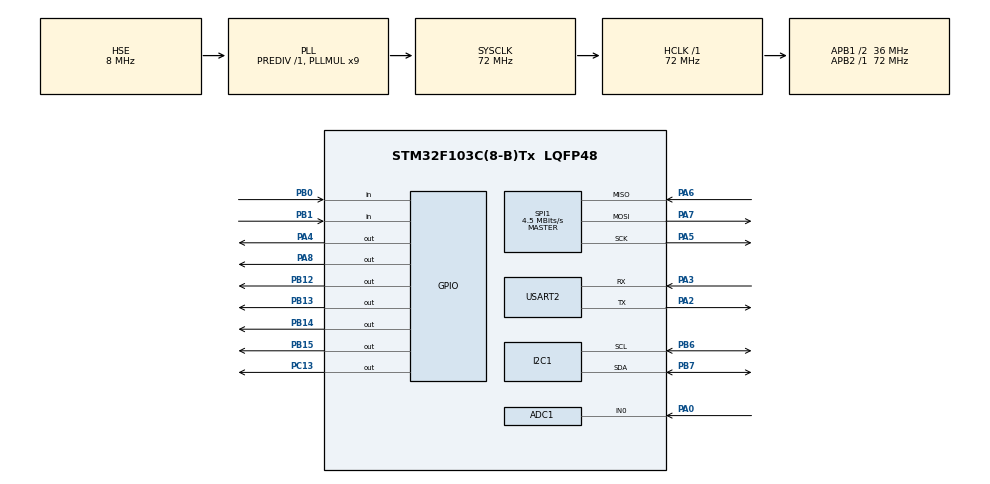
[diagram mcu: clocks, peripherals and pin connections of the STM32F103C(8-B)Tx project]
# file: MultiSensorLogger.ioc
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ADC1.Channel-0\#ChannelRegularConversion=ADC_CHANNEL_0
ADC1.NbrOfConversionFlag=1
ADC1.Rank-0\#ChannelRegularConversion=1
ADC1.SamplingTime-0\#ChannelRegularConversion=ADC_SAMPLETIME_1CYCLE_5
ADC1.master=1
I2C1.I2C_Mode=I2C_Fast
Mcu.Family=STM32F1
Mcu.Name=STM32F103C(8-B)Tx
Mcu.Package=LQFP48
NVIC.PriorityGroup=NVIC_PRIORITYGROUP_4
PA0-WKUP.Signal=ADCx_IN0
PA13.Mode=Serial_Wire
PA13.Signal=SYS_JTMS-SWDIO
PA14.Mode=Serial_Wire
PA14.Signal=SYS_JTCK-SWCLK
PA2.Mode=Asynchronous
PA2.Signal=USART2_TX
PA3.Mode=Asynchronous
PA3.Signal=USART2_RX
PA4.Signal=GPIO_Output
PA5.Mode=Full_Duplex_Master
PA5.Signal=SPI1_SCK
PA6.Mode=Full_Duplex_Master
PA6.Signal=SPI1_MISO
PA7.Mode=Full_Duplex_Master
PA7.Signal=SPI1_MOSI
PA8.Signal=GPIO_Output
PB0.GPIO_PuPd=GPIO_PULLUP
PB0.Signal=GPIO_Input
PB1.GPIO_PuPd=GPIO_PULLUP
PB1.Signal=GPIO_Input
PB12.Signal=GPIO_Output
PB13.Signal=GPIO_Output
PB14.Signal=GPIO_Output
PB15.Signal=GPIO_Output
PB6.Mode=I2C
PB6.Signal=I2C1_SCL
PB7.Mode=I2C
PB7.Signal=I2C1_SDA
PC13-TAMPER-RTC.Signal=GPIO_Output
PD0-OSC_IN.Mode=HSE-External-Oscillator
PD0-OSC_IN.Signal=RCC_OSC_IN
PD1-OSC_OUT.Mode=HSE-External-Oscillator
PD1-OSC_OUT.Signal=RCC_OSC_OUT
ProjectManager.HeapSize=0x200
ProjectManager.StackSize=0x400
ProjectManager.TargetToolchain=STM32CubeIDE
RCC.ADCPresc=RCC_ADCPCLK2_DIV6
RCC.AHBFreq_Value=72000000
RCC.APB1CLKDivider=RCC_HCLK_DIV2
RCC.APB1Freq_Value=36000000
RCC.APB1TimFreq_Value=72000000
RCC.APB2Freq_Value=72000000
RCC.APB2TimFreq_Value=72000000
RCC.HCLKFreq_Value=72000000
RCC.PLLMUL=RCC_PLL_MUL9
RCC.PLLSourceVirtual=RCC_PLLSOURCE_HSE
RCC.SYSCLKFreq_VALUE=72000000
RCC.SYSCLKSource=RCC_SYSCLKSOURCE_PLLCLK
RCC.USBFreq_Value=72000000
SH.ADCx_IN0.0=ADC1_IN0,IN0
SPI1.BaudRatePrescaler=SPI_BAUDRATEPRESCALER_16
SPI1.CalculateBaudRate=4.5 MBits/s
SPI1.Direction=SPI_DIRECTION_2LINES
SPI1.Mode=SPI_MODE_MASTER
SPI1.VirtualType=VM_MASTER
USART2.VirtualMode=VM_ASYNC
VP_ADC1_TempSens_Input.Mode=IN-TempSens
board=custom

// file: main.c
/* USER CODE BEGIN Header */
/**
  ******************************************************************************
  * @file           : main.c
  * @brief          : Main program body
  ******************************************************************************
  * @attention
  *
  * Copyright (c) 2026 STMicroelectronics.
  * All rights reserved.
  *
  * This software is licensed under terms that can be found in the LICENSE file
  * in the root directory of this software component.
  * If no LICENSE file comes with this software, it is provided AS-IS.
  *
  ******************************************************************************
  */
/* USER CODE END Header */
#include "main.h"

/* USER CODE BEGIN Includes */
#include <stdio.h>
#include <string.h>
/* USER CODE END Includes */

/* USER CODE BEGIN PTD */
typedef struct {
    uint32_t timestamp_ms;
    float temperature;
    float humidity;
    float pressure;
    uint16_t pot_raw;
    float threshold_temp;
    uint8_t alarm_active;
} SensorData;

typedef enum {
    PAGE_LIVE_DATA = 0,
    PAGE_MIN_MAX,
    PAGE_LOG_COUNT,
    PAGE_SYSTEM_INFO,
    PAGE_COUNT
} DisplayPage;

typedef struct {
    SensorData current;
    float temp_min, temp_max;
    float hum_min, hum_max;
    uint32_t log_count;
    uint32_t uptime_seconds;
    DisplayPage current_page;
    uint8_t alarm_armed;
    uint8_t alarm_triggered;
    uint8_t sd_card_ok;
    uint8_t bme280_ok;
    uint8_t bt_connected;
} SystemState;
/* USER CODE END PTD */

/* USER CODE BEGIN PD */
#define SSD1306_ADDR (0x3C << 1)
#define SSD1306_WIDTH 128
#define SSD1306_HEIGHT 64
/* USER CODE END PD */

ADC_HandleTypeDef hadc1;

I2C_HandleTypeDef hi2c1;

SPI_HandleTypeDef hspi1;

UART_HandleTypeDef huart2;

/* USER CODE BEGIN PV */
SystemState sys = {0};

/* Timing counters */
uint32_t tick_sensor  = 0;
uint32_t tick_display = 0;
uint32_t tick_sd      = 0;
uint32_t tick_bt      = 0;
uint32_t tick_second  = 0;

/* Button debounce */
uint8_t btn1_prev = 1, btn2_prev = 1;
uint8_t btn1_count = 0, btn2_count = 0;
/* USER CODE END PV */

void SystemClock_Config(void);
static void MX_GPIO_Init(void);
static void MX_ADC1_Init(void);
static void MX_I2C1_Init(void);
static void MX_SPI1_Init(void);
static void MX_USART2_UART_Init(void);

/* USER CODE BEGIN 0 */

/* ---- SSD1306 OLED Driver ---- */
static uint8_t ssd1306_buf[SSD1306_WIDTH * SSD1306_HEIGHT / 8];

/* 5x7 font, ASCII 32-90 */
static const uint8_t font5x7[][5] = {
    {0x00,0x00,0x00,0x00,0x00}, // ' '
    {0x00,0x00,0x5F,0x00,0x00}, // '!'
    {0x00,0x07,0x00,0x07,0x00}, // '"'
    {0x14,0x7F,0x14,0x7F,0x14}, // '#'
    {0x24,0x2A,0x7F,0x2A,0x12}, // '$'
    {0x23,0x13,0x08,0x64,0x62}, // '%'
    {0x36,0x49,0x56,0x20,0x50}, // '&'
    {0x00,0x08,0x07,0x03,0x00}, // '\''
    {0x00,0x1C,0x22,0x41,0x00}, // '('
    {0x00,0x41,0x22,0x1C,0x00}, // ')'
    {0x2A,0x1C,0x7F,0x1C,0x2A}, // '*'
    {0x08,0x08,0x3E,0x08,0x08}, // '+'
    {0x00,0x80,0x70,0x30,0x00}, // ','
    {0x08,0x08,0x08,0x08,0x08}, // '-'
    {0x00,0x00,0x60,0x60,0x00}, // '.'
    {0x20,0x10,0x08,0x04,0x02}, // '/'
    {0x3E,0x51,0x49,0x45,0x3E}, // '0'
    {0x00,0x42,0x7F,0x40,0x00}, // '1'
    {0x72,0x49,0x49,0x49,0x46}, // '2'
    {0x21,0x41,0x49,0x4D,0x33}, // '3'
    {0x18,0x14,0x12,0x7F,0x10}, // '4'
    {0x27,0x45,0x45,0x45,0x39}, // '5'
    {0x3C,0x4A,0x49,0x49,0x31}, // '6'
    {0x41,0x21,0x11,0x09,0x07}, // '7'
    {0x36,0x49,0x49,0x49,0x36}, // '8'
    {0x46,0x49,0x49,0x29,0x1E}, // '9'
    {0x00,0x00,0x14,0x00,0x00}, // ':'
    {0x00,0x40,0x34,0x00,0x00}, // ';'
    {0x00,0x08,0x14,0x22,0x41}, // '<'
    {0x14,0x14,0x14,0x14,0x14}, // '='
    {0x00,0x41,0x22,0x14,0x08}, // '>'
    {0x02,0x01,0x59,0x09,0x06}, // '?'
    {0x3E,0x41,0x5D,0x59,0x4E}, // '@'
    {0x7C,0x12,0x11,0x12,0x7C}, // 'A'
    {0x7F,0x49,0x49,0x49,0x36}, // 'B'
    {0x3E,0x41,0x41,0x41,0x22}, // 'C'
    {0x7F,0x41,0x41,0x41,0x3E}, // 'D'
    {0x7F,0x49,0x49,0x49,0x41}, // 'E'
    {0x7F,0x09,0x09,0x09,0x01}, // 'F'
    {0x3E,0x41,0x41,0x51,0x73}, // 'G'
    {0x7F,0x08,0x08,0x08,0x7F}, // 'H'
    {0x00,0x41,0x7F,0x41,0x00}, // 'I'
    {0x20,0x40,0x41,0x3F,0x01}, // 'J'
    {0x7F,0x08,0x14,0x22,0x41}, // 'K'
    {0x7F,0x40,0x40,0x40,0x40}, // 'L'
    {0x7F,0x02,0x1C,0x02,0x7F}, // 'M'
    {0x7F,0x04,0x08,0x10,0x7F}, // 'N'
    {0x3E,0x41,0x41,0x41,0x3E}, // 'O'
    {0x7F,0x09,0x09,0x09,0x06}, // 'P'
    {0x3E,0x41,0x51,0x21,0x5E}, // 'Q'
    {0x7F,0x09,0x19,0x29,0x46}, // 'R'
    {0x26,0x49,0x49,0x49,0x32}, // 'S'
    {0x03,0x01,0x7F,0x01,0x03}, // 'T'
    {0x3F,0x40,0x40,0x40,0x3F}, // 'U'
    {0x1F,0x20,0x40,0x20,0x1F}, // 'V'
    {0x3F,0x40,0x38,0x40,0x3F}, // 'W'
    {0x63,0x14,0x08,0x14,0x63}, // 'X'
    {0x03,0x04,0x78,0x04,0x03}, // 'Y'
    {0x61,0x59,0x49,0x4D,0x43}, // 'Z'
};

uint8_t SSD1306_Init(void)
{
    const uint8_t init_cmds[] = {
        0xAE, 0xD5, 0x80, 0xA8, 0x3F, 0xD3, 0x00,
        0x40, 0x8D, 0x14, 0x20, 0x00, 0xA1, 0xC8,
        0xDA, 0x12, 0x81, 0xCF, 0xD9, 0xF1, 0xDB,
        0x40, 0xA4, 0xA6, 0xAF
    };
    for (uint8_t i = 0; i < sizeof(init_cmds); i++) {
        uint8_t buf[2] = {0x00, init_cmds[i]};
        if (HAL_I2C_Master_Transmit(&hi2c1, SSD1306_ADDR, buf, 2, 100) != HAL_OK)
            return 0;
    }
    memset(ssd1306_buf, 0, sizeof(ssd1306_buf));
    return 1;
}

void SSD1306_Clear(void)
{
    memset(ssd1306_buf, 0, sizeof(ssd1306_buf));
}

void SSD1306_SetPixel(uint8_t x, uint8_t y, uint8_t on)
{
    if (x >= SSD1306_WIDTH || y >= SSD1306_HEIGHT) return;
    if (on) ssd1306_buf[x + (y / 8) * SSD1306_WIDTH] |= (1 << (y % 8));
    else    ssd1306_buf[x + (y / 8) * SSD1306_WIDTH] &= ~(1 << (y % 8));
}

void SSD1306_WriteStr(uint8_t x, uint8_t y, const char *str)
{
    while (*str && x < SSD1306_WIDTH - 5) {
        uint8_t c = (uint8_t)*str;
        if (c >= 32 && c <= 90) {
            for (int i = 0; i < 5; i++) {
                uint8_t col = font5x7[c - 32][i];
                for (int bit = 0; bit < 7; bit++) {
                    SSD1306_SetPixel(x + i, y + bit, (col >> bit) & 1);
                }
            }
        }
        x += 6;
        str++;
    }
}

void SSD1306_Update(void)
{
    for (uint8_t page = 0; page < 8; page++) {
        uint8_t cmd[2];
        cmd[0] = 0x00; cmd[1] = 0xB0 + page;
        HAL_I2C_Master_Transmit(&hi2c1, SSD1306_ADDR, cmd, 2, 100);
        cmd[1] = 0x00;
        HAL_I2C_Master_Transmit(&hi2c1, SSD1306_ADDR, cmd, 2, 100);
        cmd[1] = 0x10;
        HAL_I2C_Master_Transmit(&hi2c1, SSD1306_ADDR, cmd, 2, 100);

        uint8_t data[SSD1306_WIDTH + 1];
        data[0] = 0x40;
        memcpy(&data[1], &ssd1306_buf[page * SSD1306_WIDTH], SSD1306_WIDTH);
        HAL_I2C_Master_Transmit(&hi2c1, SSD1306_ADDR, data, SSD1306_WIDTH + 1, 100);
    }
}

/* UART printf redirect */
int _write(int file, char *ptr, int len)
{
    HAL_UART_Transmit(&huart2, (uint8_t *)ptr, len, HAL_MAX_DELAY);
    return len;
}

/* Page name helper */
static const char *page_name(DisplayPage p)
{
    switch (p) {
        case PAGE_LIVE_DATA:   return "LIVE";
        case PAGE_MIN_MAX:     return "MINMAX";
        case PAGE_LOG_COUNT:   return "LOG";
        case PAGE_SYSTEM_INFO: return "INFO";
        default:               return "?";
    }
}

/* Read internal temperature sensor (ADC channel 16)
 * Formula from datasheet: T(C) = ((V25 - Vsense) / Avg_Slope) + 25
 *   V25 = 1.43V typical, Avg_Slope = 4.3 mV/C typical
 *   Vsense = (ADC_raw / 4095) * 3.3V
 */
float ReadInternalTemp(void)
{
    ADC_ChannelConfTypeDef sConfig = {0};
    sConfig.Channel = ADC_CHANNEL_TEMPSENSOR;
    sConfig.Rank = ADC_REGULAR_RANK_1;
    sConfig.SamplingTime = ADC_SAMPLETIME_239CYCLES_5;
    HAL_ADC_ConfigChannel(&hadc1, &sConfig);

    HAL_ADC_Start(&hadc1);
    HAL_ADC_PollForConversion(&hadc1, 10);
    uint16_t raw = HAL_ADC_GetValue(&hadc1);
    HAL_ADC_Stop(&hadc1);

    float vsense = ((float)raw / 4095.0f) * 3.3f;
    return ((1.43f - vsense) / 0.0043f) + 25.0f;
}

/* Read potentiometer on PA0 (ADC channel 0)
 * Maps 0-4095 to 15.0-50.0 degrees C threshold
 */
float ReadThreshold(void)
{
    ADC_ChannelConfTypeDef sConfig = {0};
    sConfig.Channel = ADC_CHANNEL_0;
    sConfig.Rank = ADC_REGULAR_RANK_1;
    sConfig.SamplingTime = ADC_SAMPLETIME_71CYCLES_5;
    HAL_ADC_ConfigChannel(&hadc1, &sConfig);

    HAL_ADC_Start(&hadc1);
    HAL_ADC_PollForConversion(&hadc1, 10);
    uint16_t raw = HAL_ADC_GetValue(&hadc1);
    HAL_ADC_Stop(&hadc1);

    sys.current.pot_raw = raw;
    return 15.0f + ((float)raw / 4095.0f) * 35.0f;
}

/* Debounced button polling */
void PollButtons(void)
{
    uint8_t b1 = HAL_GPIO_ReadPin(GPIOB, GPIO_PIN_0);
    uint8_t b2 = HAL_GPIO_ReadPin(GPIOB, GPIO_PIN_1);

    /* Button 1: cycle display page */
    if (btn1_prev == 1 && b1 == 0) {
        btn1_count++;
        if (btn1_count > 3) {
            sys.current_page = (DisplayPage)((sys.current_page + 1) % PAGE_COUNT);
            btn1_count = 0;
            printf("[BTN] Page -> %s\r\n", page_name(sys.current_page));
        }
    } else {
        btn1_count = 0;
    }
    btn1_prev = b1;

    /* Button 2: arm/disarm alarm */
    if (btn2_prev == 1 && b2 == 0) {
        btn2_count++;
        if (btn2_count > 3) {
            sys.alarm_armed = !sys.alarm_armed;
            btn2_count = 0;
            printf("[BTN] Alarm %s\r\n", sys.alarm_armed ? "ARMED" : "DISARMED");
        }
    } else {
        btn2_count = 0;
    }
    btn2_prev = b2;
}

/* Alarm check with LED/relay/buzzer control */
void Alarm_Check(SystemState *state)
{
    if (!state->alarm_armed) {
        state->alarm_triggered = 0;
        HAL_GPIO_WritePin(GPIOB, GPIO_PIN_12, GPIO_PIN_RESET); /* Relay off */
        HAL_GPIO_WritePin(GPIOB, GPIO_PIN_13, GPIO_PIN_RESET); /* Buzzer off */
        HAL_GPIO_WritePin(GPIOB, GPIO_PIN_14, GPIO_PIN_RESET); /* Green off */
        HAL_GPIO_WritePin(GPIOB, GPIO_PIN_15, GPIO_PIN_RESET); /* Yellow off */
        HAL_GPIO_WritePin(GPIOA, GPIO_PIN_8, GPIO_PIN_RESET);  /* Red off */
        return;
    }

    float margin = state->current.threshold_temp - state->current.temperature;

    if (state->current.temperature > state->current.threshold_temp) {
        state->alarm_triggered = 1;
        HAL_GPIO_WritePin(GPIOB, GPIO_PIN_12, GPIO_PIN_SET);   /* Relay on */
        HAL_GPIO_WritePin(GPIOB, GPIO_PIN_13, GPIO_PIN_SET);   /* Buzzer on */
    } else {
        state->alarm_triggered = 0;
        HAL_GPIO_WritePin(GPIOB, GPIO_PIN_12, GPIO_PIN_RESET);
        HAL_GPIO_WritePin(GPIOB, GPIO_PIN_13, GPIO_PIN_RESET);
    }

    /* Status LEDs */
    if (state->alarm_triggered) {
        HAL_GPIO_WritePin(GPIOB, GPIO_PIN_14, GPIO_PIN_RESET);
        HAL_GPIO_WritePin(GPIOB, GPIO_PIN_15, GPIO_PIN_RESET);
        HAL_GPIO_WritePin(GPIOA, GPIO_PIN_8, GPIO_PIN_SET);    /* Red */
    } else if (margin < 5.0f && margin > 0) {
        HAL_GPIO_WritePin(GPIOB, GPIO_PIN_14, GPIO_PIN_RESET);
        HAL_GPIO_WritePin(GPIOB, GPIO_PIN_15, GPIO_PIN_SET);   /* Yellow */
        HAL_GPIO_WritePin(GPIOA, GPIO_PIN_8, GPIO_PIN_RESET);
    } else {
        HAL_GPIO_WritePin(GPIOB, GPIO_PIN_14, GPIO_PIN_SET);   /* Green */
        HAL_GPIO_WritePin(GPIOB, GPIO_PIN_15, GPIO_PIN_RESET);
        HAL_GPIO_WritePin(GPIOA, GPIO_PIN_8, GPIO_PIN_RESET);
    }
}

/* USER CODE END 0 */

int main(void)
{

  /* MCU Configuration--------------------------------------------------------*/

  /* Reset of all peripherals, Initializes the Flash interface and the Systick. */
  HAL_Init();

  /* Configure the system clock */
  SystemClock_Config();

  /* Initialize all configured peripherals */
  MX_GPIO_Init();
  MX_ADC1_Init();
  MX_I2C1_Init();
  MX_SPI1_Init();
  MX_USART2_UART_Init();
  /* USER CODE BEGIN 2 */

  /* Relay and buzzer off at startup */
  HAL_GPIO_WritePin(GPIOB, GPIO_PIN_12, GPIO_PIN_RESET);
  HAL_GPIO_WritePin(GPIOB, GPIO_PIN_13, GPIO_PIN_RESET);

  /* Green LED on during init */
  HAL_GPIO_WritePin(GPIOB, GPIO_PIN_14, GPIO_PIN_SET);

  /* Initialize OLED */
  uint8_t oled_ok = SSD1306_Init();
  if (oled_ok) {
      SSD1306_Clear();
      SSD1306_WriteStr(0, 0, "MULTI-SENSOR");
      SSD1306_WriteStr(0, 10, "DATA LOGGER");
      SSD1306_WriteStr(0, 25, "INITIALIZING...");
      SSD1306_Update();
      HAL_Delay(1000);
  }

  printf("\r\n[INIT] Multi-Sensor Data Logger\r\n");
  printf("[INIT] OLED: %s\r\n", oled_ok ? "OK" : "FAIL");
  printf("[INIT] Step 1: Internal temp + OLED + GPIO\r\n");

  /* Read initial temperature */
  float t0 = ReadInternalTemp();
  sys.current.temperature = t0;
  sys.current.humidity = 0.0f;
  sys.current.pressure = 0.0f;
  sys.temp_min = sys.temp_max = t0;
  sys.hum_min = sys.hum_max = 0.0f;

  sys.alarm_armed = 1;
  sys.bme280_ok = 0;   /* No external sensor in Step 1 */
  sys.sd_card_ok = 0;
  sys.bt_connected = 0;
  sys.log_count = 0;

  printf("[INIT] Internal temp = %.1f C\r\n", t0);
  printf("[INIT] All peripherals initialized\r\n");

  /* USER CODE END 2 */

  /* Infinite loop */
  while (1)
  {

    /* USER CODE BEGIN 3 */
    uint32_t now = HAL_GetTick();

    /* Poll buttons every ~10 ms */
    PollButtons();

    /* Heartbeat: toggle onboard LED every 500 ms
     * WeAct Blue Pill: PB2 (active high)
     * Generic Blue Pill: PC13 (active low)
     */
    static uint32_t tick_led = 0;
    if (now - tick_led >= 500) {
        tick_led = now;
        HAL_GPIO_TogglePin(GPIOB, GPIO_PIN_2);
        HAL_GPIO_TogglePin(GPIOC, GPIO_PIN_13);
    }

    /* Sensor read every 100 ms */
    if (now - tick_sensor >= 100) {
        tick_sensor = now;
        sys.current.timestamp_ms = now;

        sys.current.temperature = ReadInternalTemp();
        sys.current.threshold_temp = ReadThreshold();

        /* Update min/max */
        if (sys.current.temperature < sys.temp_min)
            sys.temp_min = sys.current.temperature;
        if (sys.current.temperature > sys.temp_max)
            sys.temp_max = sys.current.temperature;

        /* Check alarm */
        sys.current.alarm_active = sys.alarm_triggered;
        Alarm_Check(&sys);
    }

    /* Display every 500 ms */
    if (now - tick_display >= 500) {
        tick_display = now;

        /* Update OLED */
        char buf[22];
        SSD1306_Clear();

        snprintf(buf, sizeof(buf), "T: %.1f C", sys.current.temperature);
        SSD1306_WriteStr(0, 0, buf);

        snprintf(buf, sizeof(buf), "THR: %.1f C", sys.current.threshold_temp);
        SSD1306_WriteStr(0, 10, buf);

        snprintf(buf, sizeof(buf), "POT: %u", sys.current.pot_raw);
        SSD1306_WriteStr(0, 20, buf);

        snprintf(buf, sizeof(buf), "UP: %lus  %s", sys.uptime_seconds, page_name(sys.current_page));
        SSD1306_WriteStr(0, 35, buf);

        if (sys.alarm_triggered)
            SSD1306_WriteStr(0, 50, "** ALARM **");
        else if (sys.alarm_armed)
            SSD1306_WriteStr(0, 50, "ARMED - OK");
        else
            SSD1306_WriteStr(0, 50, "DISARMED");

        SSD1306_Update();
    }

    /* SD card stub every 1 second (Step 5: SD_Logger_Write here) */
    if (now - tick_sd >= 1000) {
        tick_sd = now;
    }

    /* Bluetooth stub every 2 seconds (Step 4: BT_SendJSON here) */
    if (now - tick_bt >= 2000) {
        tick_bt = now;
    }

    /* Uptime counter */
    if (now - tick_second >= 1000) {
        tick_second = now;
        sys.uptime_seconds++;
        printf("[TICK] uptime=%lus  page=%s\r\n",
            sys.uptime_seconds, page_name(sys.current_page));
    }

    HAL_Delay(10);
  }
  /* USER CODE END 3 */
}

void SystemClock_Config(void)
{
  RCC_OscInitTypeDef RCC_OscInitStruct = {0};
  RCC_ClkInitTypeDef RCC_ClkInitStruct = {0};
  RCC_PeriphCLKInitTypeDef PeriphClkInit = {0};

  /** Initializes the RCC Oscillators according to the specified parameters
  * in the RCC_OscInitTypeDef structure.
  */
  RCC_OscInitStruct.OscillatorType = RCC_OSCILLATORTYPE_HSE;
  RCC_OscInitStruct.HSEState = RCC_HSE_ON;
  RCC_OscInitStruct.HSEPredivValue = RCC_HSE_PREDIV_DIV1;
  RCC_OscInitStruct.HSIState = RCC_HSI_ON;
  RCC_OscInitStruct.PLL.PLLState = RCC_PLL_ON;
  RCC_OscInitStruct.PLL.PLLSource = RCC_PLLSOURCE_HSE;
  RCC_OscInitStruct.PLL.PLLMUL = RCC_PLL_MUL9;
  if (HAL_RCC_OscConfig(&RCC_OscInitStruct) != HAL_OK)
  {
    Error_Handler();
  }

  /** Initializes the CPU, AHB and APB buses clocks
  */
  RCC_ClkInitStruct.ClockType = RCC_CLOCKTYPE_HCLK|RCC_CLOCKTYPE_SYSCLK
                              |RCC_CLOCKTYPE_PCLK1|RCC_CLOCKTYPE_PCLK2;
  RCC_ClkInitStruct.SYSCLKSource = RCC_SYSCLKSOURCE_PLLCLK;
  RCC_ClkInitStruct.AHBCLKDivider = RCC_SYSCLK_DIV1;
  RCC_ClkInitStruct.APB1CLKDivider = RCC_HCLK_DIV2;
  RCC_ClkInitStruct.APB2CLKDivider = RCC_HCLK_DIV1;

  if (HAL_RCC_ClockConfig(&RCC_ClkInitStruct, FLASH_LATENCY_2) != HAL_OK)
  {
    Error_Handler();
  }
  PeriphClkInit.PeriphClockSelection = RCC_PERIPHCLK_ADC;
  PeriphClkInit.AdcClockSelection = RCC_ADCPCLK2_DIV6;
  if (HAL_RCCEx_PeriphCLKConfig(&PeriphClkInit) != HAL_OK)
  {
    Error_Handler();
  }
}

static void MX_ADC1_Init(void)
{

  ADC_ChannelConfTypeDef sConfig = {0};

  /** Common config
  */
  hadc1.Instance = ADC1;
  hadc1.Init.ScanConvMode = ADC_SCAN_DISABLE;
  hadc1.Init.ContinuousConvMode = DISABLE;
  hadc1.Init.DiscontinuousConvMode = DISABLE;
  hadc1.Init.ExternalTrigConv = ADC_SOFTWARE_START;
  hadc1.Init.DataAlign = ADC_DATAALIGN_RIGHT;
  hadc1.Init.NbrOfConversion = 1;
  if (HAL_ADC_Init(&hadc1) != HAL_OK)
  {
    Error_Handler();
  }

  /** Configure Regular Channel
  */
  sConfig.Channel = ADC_CHANNEL_0;
  sConfig.Rank = ADC_REGULAR_RANK_1;
  sConfig.SamplingTime = ADC_SAMPLETIME_1CYCLE_5;
  if (HAL_ADC_ConfigChannel(&hadc1, &sConfig) != HAL_OK)
  {
    Error_Handler();
  }

}

static void MX_I2C1_Init(void)
{

  hi2c1.Instance = I2C1;
  hi2c1.Init.ClockSpeed = 400000;
  hi2c1.Init.DutyCycle = I2C_DUTYCYCLE_2;
  hi2c1.Init.OwnAddress1 = 0;
  hi2c1.Init.AddressingMode = I2C_ADDRESSINGMODE_7BIT;
  hi2c1.Init.DualAddressMode = I2C_DUALADDRESS_DISABLE;
  hi2c1.Init.OwnAddress2 = 0;
  hi2c1.Init.GeneralCallMode = I2C_GENERALCALL_DISABLE;
  hi2c1.Init.NoStretchMode = I2C_NOSTRETCH_DISABLE;
  if (HAL_I2C_Init(&hi2c1) != HAL_OK)
  {
    Error_Handler();
  }

}

static void MX_SPI1_Init(void)
{

  /* SPI1 parameter configuration*/
  hspi1.Instance = SPI1;
  hspi1.Init.Mode = SPI_MODE_MASTER;
  hspi1.Init.Direction = SPI_DIRECTION_2LINES;
  hspi1.Init.DataSize = SPI_DATASIZE_8BIT;
  hspi1.Init.CLKPolarity = SPI_POLARITY_LOW;
  hspi1.Init.CLKPhase = SPI_PHASE_1EDGE;
  hspi1.Init.NSS = SPI_NSS_SOFT;
  hspi1.Init.BaudRatePrescaler = SPI_BAUDRATEPRESCALER_16;
  hspi1.Init.FirstBit = SPI_FIRSTBIT_MSB;
  hspi1.Init.TIMode = SPI_TIMODE_DISABLE;
  hspi1.Init.CRCCalculation = SPI_CRCCALCULATION_DISABLE;
  hspi1.Init.CRCPolynomial = 10;
  if (HAL_SPI_Init(&hspi1) != HAL_OK)
  {
    Error_Handler();
  }

}

static void MX_USART2_UART_Init(void)
{

  huart2.Instance = USART2;
  huart2.Init.BaudRate = 115200;
  huart2.Init.WordLength = UART_WORDLENGTH_8B;
  huart2.Init.StopBits = UART_STOPBITS_1;
  huart2.Init.Parity = UART_PARITY_NONE;
  huart2.Init.Mode = UART_MODE_TX_RX;
  huart2.Init.HwFlowCtl = UART_HWCONTROL_NONE;
  huart2.Init.OverSampling = UART_OVERSAMPLING_16;
  if (HAL_UART_Init(&huart2) != HAL_OK)
  {
    Error_Handler();
  }

}

static void MX_GPIO_Init(void)
{
  GPIO_InitTypeDef GPIO_InitStruct = {0};

  /* GPIO Ports Clock Enable */
  __HAL_RCC_GPIOC_CLK_ENABLE();
  __HAL_RCC_GPIOD_CLK_ENABLE();
  __HAL_RCC_GPIOA_CLK_ENABLE();
  __HAL_RCC_GPIOB_CLK_ENABLE();

  /*Configure GPIO pin Output Level */
  HAL_GPIO_WritePin(GPIOC, GPIO_PIN_13, GPIO_PIN_RESET);

  /*Configure GPIO pin Output Level */
  HAL_GPIO_WritePin(GPIOA, GPIO_PIN_4|GPIO_PIN_8, GPIO_PIN_RESET);

  /*Configure GPIO pin Output Level */
  HAL_GPIO_WritePin(GPIOB, GPIO_PIN_12|GPIO_PIN_13|GPIO_PIN_14|GPIO_PIN_15, GPIO_PIN_RESET);

  /*Configure GPIO pin : PC13 */
  GPIO_InitStruct.Pin = GPIO_PIN_13;
  GPIO_InitStruct.Mode = GPIO_MODE_OUTPUT_PP;
  GPIO_InitStruct.Pull = GPIO_NOPULL;
  GPIO_InitStruct.Speed = GPIO_SPEED_FREQ_LOW;
  HAL_GPIO_Init(GPIOC, &GPIO_InitStruct);

  /*Configure GPIO pins : PA4 PA8 */
  GPIO_InitStruct.Pin = GPIO_PIN_4|GPIO_PIN_8;
  GPIO_InitStruct.Mode = GPIO_MODE_OUTPUT_PP;
  GPIO_InitStruct.Pull = GPIO_NOPULL;
  GPIO_InitStruct.Speed = GPIO_SPEED_FREQ_LOW;
  HAL_GPIO_Init(GPIOA, &GPIO_InitStruct);

  /*Configure GPIO pins : PB0 PB1 */
  GPIO_InitStruct.Pin = GPIO_PIN_0|GPIO_PIN_1;
  GPIO_InitStruct.Mode = GPIO_MODE_INPUT;
  GPIO_InitStruct.Pull = GPIO_PULLUP;
  HAL_GPIO_Init(GPIOB, &GPIO_InitStruct);

  /*Configure GPIO pins : PB12 PB13 PB14 PB15 */
  GPIO_InitStruct.Pin = GPIO_PIN_12|GPIO_PIN_13|GPIO_PIN_14|GPIO_PIN_15;
  GPIO_InitStruct.Mode = GPIO_MODE_OUTPUT_PP;
  GPIO_InitStruct.Pull = GPIO_NOPULL;
  GPIO_InitStruct.Speed = GPIO_SPEED_FREQ_LOW;
  HAL_GPIO_Init(GPIOB, &GPIO_InitStruct);

  /* USER CODE BEGIN MX_GPIO_Init_2 */
  /* WeAct Blue Pill onboard LED on PB2 (not in CubeMX, init manually) */
  GPIO_InitStruct.Pin = GPIO_PIN_2;
  GPIO_InitStruct.Mode = GPIO_MODE_OUTPUT_PP;
  GPIO_InitStruct.Pull = GPIO_NOPULL;
  GPIO_InitStruct.Speed = GPIO_SPEED_FREQ_LOW;
  HAL_GPIO_Init(GPIOB, &GPIO_InitStruct);
  /* USER CODE END MX_GPIO_Init_2 */
}

void Error_Handler(void)
{
  __disable_irq();
  while (1)
  {
  }
}
